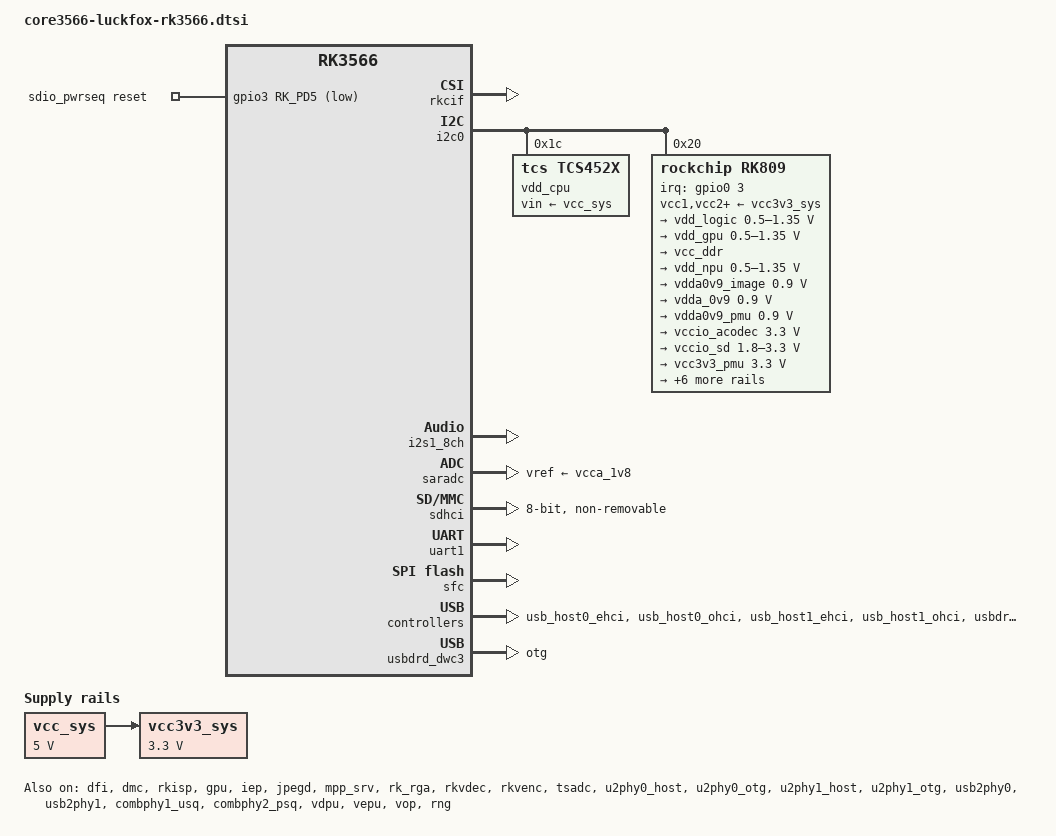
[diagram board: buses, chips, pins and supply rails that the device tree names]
// SPDX-License-Identifier: (GPL-2.0+ OR MIT)
/*
 * Copyright (c) 2023 luckfox technology Limited.

 */

/dts-v1/;

#include <dt-bindings/gpio/gpio.h>
#include <dt-bindings/pwm/pwm.h>
#include <dt-bindings/pinctrl/rockchip.h>
#include <dt-bindings/input/rk-input.h>
#include <dt-bindings/display/drm_mipi_dsi.h>
#include <dt-bindings/sensor-dev.h>
#include "core3566-rk3566.dtsi"

/ {
	compatible = "luckfox,core3566", "rockchip,rk3566";

	aliases {
		mmc0 = &sdhci;
		mmc1 = &sdmmc0;
		mmc2 = &sdmmc1;
		mmc3 = &sdmmc2;
	};

	chosen: chosen {
		bootargs = "earlycon=uart8250,mmio32,0xfe660000 console=tty1  console=ttyFIQ0 root=PARTUUID=614e0000-0000 rw rootwait";
	};

	fiq_debugger: fiq-debugger {
		compatible = "rockchip,fiq-debugger";
		rockchip,serial-id = <2>;
//		rockchip,serial-id = <7>;
		rockchip,wake-irq = <0>;
		/* If enable uart uses irq instead of fiq */
		rockchip,irq-mode-enable = <1>;
		rockchip,baudrate = <1500000>;  /* Only 115200 and 1500000 */
		interrupts = <GIC_SPI 252 IRQ_TYPE_LEVEL_LOW>;
		pinctrl-names = "default";
		pinctrl-0 = <&uart2m0_xfer>;
//		pinctrl-0 = <&uart7m0_xfer>;
		status = "okay";
	};

	debug: debug@fd904000 {
		compatible = "rockchip,debug";
		reg = <0x0 0xfd904000 0x0 0x1000>,
			<0x0 0xfd905000 0x0 0x1000>,
			<0x0 0xfd906000 0x0 0x1000>,
			<0x0 0xfd907000 0x0 0x1000>;
	};

	cspmu: cspmu@fd90c000 {
		compatible = "rockchip,cspmu";
		reg = <0x0 0xfd90c000 0x0 0x1000>,
			<0x0 0xfd90d000 0x0 0x1000>,
			<0x0 0xfd90e000 0x0 0x1000>,
			<0x0 0xfd90f000 0x0 0x1000>;
	};

	reserved_memory: reserved-memory {
		#address-cells = <2>;
		#size-cells = <2>;
		ranges;

		rknpu_reserved: rknpu {
			compatible = "shared-dma-pool";
			inactive;
			reusable;
			size = <0x0 0x1000000>; /* 100000 1M   0x20000000  512M    A00000 10m   at least 16m */
			alignment = <0x0 0x1000>;
		};
	};

	rk809_sound: rk809-sound {
		status = "okay";
		compatible = "simple-audio-card";
		simple-audio-card,format = "i2s";
		simple-audio-card,name = "rockchip,rk809-codec";
		simple-audio-card,mclk-fs = <256>;

		simple-audio-card,widgets =
			"Microphone", "Mic Jack",
			"Headphone", "Headphone Jack";
		simple-audio-card,routing =
			"MIC_IN", "Mic Jack",
			/*"IN1P", "Mic Jack",*/
			"Headphone Jack", "HPOL",
			"Headphone Jack", "HPOR";

		simple-audio-card,cpu {
			sound-dai = <&i2s1_8ch>;
		};
		simple-audio-card,codec {
			sound-dai = <&rk809_codec>;
		};
	};

	vcc_sys: vcc-sys {
		compatible = "regulator-fixed";
		regulator-name = "vcc_sys";
		regulator-always-on;
		regulator-boot-on;
		regulator-min-microvolt = <5000000>;
		regulator-max-microvolt = <5000000>;
	};

	vcc3v3_sys: vcc3v3-sys {
		compatible = "regulator-fixed";
		regulator-name = "vcc3v3_sys";
		regulator-always-on;
		regulator-boot-on;
		regulator-min-microvolt = <3300000>;
		regulator-max-microvolt = <3300000>;
		vin-supply = <&vcc_sys>;
	};

//无线
	sdio_pwrseq: sdio-pwrseq {
        compatible = "mmc-pwrseq-simple";
        clocks = <&rk809 1>;
        clock-names = "ext_clock";
        pinctrl-names = "default";
        pinctrl-0 = <&wifi_enable_h>;
        post-power-on-delay-ms = <200>;
        reset-gpios = <&gpio3 RK_PD5 GPIO_ACTIVE_LOW>;
    };

    wireless_wlan: wireless-wlan {
        compatible = "wlan-platdata";
        rockchip,grf = <&grf>;
        //wifi_chip_type = "ap6398s";
        wifi_chip_type = "ap6256";
        
        status = "okay";
    };

    wireless_bluetooth: wireless-bluetooth {
        compatible = "bluetooth-platdata";
        clocks = <&rk809 1>;
        clock-names = "ext_clock";
        //wifi-bt-power-toggle;
        //uart_rts_gpios = <&gpio2 RK_PB1 GPIO_ACTIVE_LOW>;
        pinctrl-names = "default", "rts_gpio";
        pinctrl-0 = <&uart8m0_rtsn>;
        pinctrl-1 = <&uart8_gpios>;
        //BT,reset_gpio    = <&gpio3 RK_PA0 GPIO_ACTIVE_HIGH>;
        //BT,wake_gpio     = <&gpio3 RK_PA1 GPIO_ACTIVE_HIGH>;
        //BT,wake_host_irq = <&gpio3 RK_PA2 GPIO_ACTIVE_HIGH>;
        status = "okay";
    };


};

&cpu0 {
	cpu-supply = <&vdd_cpu>;
};

&dfi {
	status = "okay";
};

&dmc {
	center-supply = <&vdd_logic>;
//ddr频率设置
	//status = "disabled";
	status = "okay";
};

&rkcif {
	status = "okay";
};

&rkcif_mmu {
	status = "okay";
};

&rkisp {
	status = "okay";
};

&rkisp_mmu {
	status = "okay";
};

&gpu {
	mali-supply = <&vdd_gpu>;
	status = "okay";
};

// &pmu_io_domains {
// 	status = "okay";
// 	pmuio1-supply = <&vcc3v3_pmu>;
// 	pmuio2-supply = <&VCC_GPIO18_45_3V3>;
// 	vccio1-supply = <&vccio_acodec>;
// 	vccio2-supply = <&vcca1v8_pmu>;
// 	vccio3-supply = <&vccio_sd>;
// 	vccio4-supply = <&VCC_GPIO0_17>;
// 	vccio5-supply = <&VCC_GPIO18_45_3V3>;
// 	vccio6-supply = <&VCC_GPIO0_17>;
// 	vccio7-supply = <&vcc_3v3>;
// };

&pmu_io_domains {
	status = "okay";
	pmuio2-supply = <&vcc3v3_pmu>;
	vccio1-supply = <&vccio_acodec>;
	vccio3-supply = <&vccio_sd>;
	vccio4-supply = <&vcc_1v8>;
	vccio5-supply = <&vcc_3v3>;
	vccio6-supply = <&vcc_1v8>;
	vccio7-supply = <&vcc_3v3>;
};

&i2c0 {
	status = "okay";

	vdd_cpu: tcs4525@1c {
		compatible = "tcs,tcs452x";
		reg = <0x1c>;
		vin-supply = <&vcc_sys>;
		regulator-compatible = "fan53555-reg";
		regulator-name = "vdd_cpu";
		regulator-min-microvolt = <712500>;
		regulator-max-microvolt = <1390000>;
		regulator-ramp-delay = <2300>;
		fcs,suspend-voltage-selector = <1>;
		regulator-boot-on;
		regulator-always-on;
		regulator-state-mem {
			regulator-off-in-suspend;
		};
	};

	rk809: pmic@20 {
		compatible = "rockchip,rk809";
		reg = <0x20>;
		interrupt-parent = <&gpio0>;
		interrupts = <3 IRQ_TYPE_LEVEL_LOW>;

		pinctrl-names = "default", "pmic-sleep",
				"pmic-power-off", "pmic-reset";
		pinctrl-0 = <&pmic_int>;
		pinctrl-1 = <&soc_slppin_slp>, <&rk817_slppin_slp>;
		pinctrl-2 = <&soc_slppin_gpio>, <&rk817_slppin_pwrdn>;
		pinctrl-3 = <&soc_slppin_gpio>, <&rk817_slppin_rst>;

		rockchip,system-power-controller;
		wakeup-source;
		#clock-cells = <1>;
		clock-output-names = "rk808-clkout1", "rk808-clkout2";
		//fb-inner-reg-idxs = <2>;
		/* 1: rst regs (default in codes), 0: rst the pmic */
		pmic-reset-func = <1>;

		// vcc1-supply = <&vcc_sys>;
		// vcc2-supply = <&vcc_sys>;
		// vcc3-supply = <&vcc_sys>;
		// vcc4-supply = <&vcc_sys>;
		// vcc5-supply = <&vcc_sys>;
		// vcc6-supply = <&vcc_sys>;
		// vcc7-supply = <&vcc_sys>;
		// vcc8-supply = <&vcc3v3_sys>;
		// vcc9-supply = <&vcc_sys>;

		vcc1-supply = <&vcc3v3_sys>;
		vcc2-supply = <&vcc3v3_sys>;
		vcc3-supply = <&vcc3v3_sys>;
		vcc4-supply = <&vcc3v3_sys>;
		vcc5-supply = <&vcc3v3_sys>;
		vcc6-supply = <&vcc3v3_sys>;
		vcc7-supply = <&vcc3v3_sys>;
		vcc8-supply = <&vcc3v3_sys>;
		vcc9-supply = <&vcc3v3_sys>;

		pwrkey {
			status = "okay";
		};

		pinctrl_rk8xx: pinctrl_rk8xx {
			gpio-controller;
			#gpio-cells = <2>;

			rk817_slppin_null: rk817_slppin_null {
				pins = "gpio_slp";
				function = "pin_fun0";
			};

			rk817_slppin_slp: rk817_slppin_slp {
				pins = "gpio_slp";
				function = "pin_fun1";
			};

			rk817_slppin_pwrdn: rk817_slppin_pwrdn {
				pins = "gpio_slp";
				function = "pin_fun2";
			};

			rk817_slppin_rst: rk817_slppin_rst {
				pins = "gpio_slp";
				function = "pin_fun3";
			};
		};

		regulators {
			vdd_logic: DCDC_REG1 {
				regulator-always-on;
				regulator-boot-on;
				regulator-min-microvolt = <500000>;
				regulator-max-microvolt = <1350000>;
				regulator-init-microvolt = <900000>;
				regulator-ramp-delay = <6001>;
				regulator-initial-mode = <0x2>;
				regulator-name = "vdd_logic";
				regulator-state-mem {
					regulator-off-in-suspend;
				};
			};

			vdd_gpu: DCDC_REG2 {
				regulator-always-on;
				regulator-boot-on;
				regulator-min-microvolt = <500000>;
				regulator-max-microvolt = <1350000>;
				regulator-init-microvolt = <900000>;
				regulator-ramp-delay = <6001>;
				regulator-initial-mode = <0x2>;
				regulator-name = "vdd_gpu";
				regulator-state-mem {
					regulator-off-in-suspend;
				};
			};

			vcc_ddr: DCDC_REG3 {
				regulator-always-on;
				regulator-boot-on;
				regulator-initial-mode = <0x2>;
				regulator-name = "vcc_ddr";
				regulator-state-mem {
					regulator-on-in-suspend;
				};
			};

			vdd_npu: DCDC_REG4 {
				regulator-always-on;
				regulator-boot-on;
				regulator-min-microvolt = <500000>;
				regulator-max-microvolt = <1350000>;
				regulator-init-microvolt = <900000>;
				regulator-ramp-delay = <6001>;
				regulator-initial-mode = <0x2>;
				regulator-name = "vdd_npu";
				regulator-state-mem {
					regulator-off-in-suspend;
				};
			};

			vdda0v9_image: LDO_REG1 {
				regulator-boot-on;
				regulator-always-on;
				regulator-min-microvolt = <900000>;
				regulator-max-microvolt = <900000>;
				regulator-name = "vdda0v9_image";
				regulator-state-mem {
					regulator-off-in-suspend;
				};
			};

			vdda_0v9: LDO_REG2 {
				regulator-always-on;
				regulator-boot-on;
				regulator-min-microvolt = <900000>;
				regulator-max-microvolt = <900000>;
				regulator-name = "vdda_0v9";
				regulator-state-mem {
					regulator-off-in-suspend;
				};
			};

			vdda0v9_pmu: LDO_REG3 {
				regulator-always-on;
				regulator-boot-on;
				regulator-min-microvolt = <900000>;
				regulator-max-microvolt = <900000>;
				regulator-name = "vdda0v9_pmu";
				regulator-state-mem {
					regulator-on-in-suspend;
					regulator-suspend-microvolt = <900000>;
				};
			};

			vccio_acodec: LDO_REG4 {
				regulator-always-on;
				regulator-boot-on;
				regulator-min-microvolt = <3300000>;
				regulator-max-microvolt = <3300000>;
				regulator-name = "vccio_acodec";
				regulator-state-mem {
					regulator-off-in-suspend;
				};
			};

			vccio_sd: LDO_REG5 {
				regulator-always-on;
				regulator-boot-on;
				regulator-min-microvolt = <1800000>;
				regulator-max-microvolt = <3300000>;
				regulator-name = "vccio_sd";
				regulator-state-mem {
					regulator-off-in-suspend;
				};
			};

			vcc3v3_pmu: LDO_REG6 {
				regulator-always-on;
				regulator-boot-on;
				regulator-min-microvolt = <3300000>;
				regulator-max-microvolt = <3300000>;
				regulator-name = "vcc3v3_pmu";
				regulator-state-mem {
					regulator-on-in-suspend;
					regulator-suspend-microvolt = <3300000>;
				};
			};

			vcca_1v8: LDO_REG7 {
				regulator-always-on;
				regulator-boot-on;
				regulator-min-microvolt = <1800000>;
				regulator-max-microvolt = <1800000>;
				regulator-name = "vcca_1v8";
				regulator-state-mem {
					regulator-off-in-suspend;
				};
			};

			vcca1v8_pmu: LDO_REG8 {
				regulator-always-on;
				regulator-boot-on;
				regulator-min-microvolt = <1800000>;
				regulator-max-microvolt = <1800000>;
				regulator-name = "vcca1v8_pmu";
				regulator-state-mem {
					regulator-on-in-suspend;
					regulator-suspend-microvolt = <1800000>;
				};
			};

			VCC_GPIO0_17: LDO_REG9 {
				regulator-always-on;
				regulator-boot-on;
				regulator-min-microvolt = <3300000>;
				regulator-max-microvolt = <3300000>;
				regulator-name = "VCC_GPIO0_17";
				regulator-state-mem {
					regulator-off-in-suspend;
				};
			};

			vcc_1v8: DCDC_REG5 {
				regulator-always-on;
				regulator-boot-on;
				regulator-min-microvolt = <1800000>;
				regulator-max-microvolt = <1800000>;
				regulator-name = "vcc_1v8";
				regulator-state-mem {
					regulator-off-in-suspend;
				};
			};

			vcc_3v3: SWITCH_REG1 {
				regulator-always-on;
				regulator-boot-on;
				regulator-name = "vcc_3v3";
				regulator-state-mem {
					regulator-off-in-suspend;
				};
			};

			vcc3v3_sd: SWITCH_REG2 {
				regulator-always-on;
				regulator-boot-on;
				regulator-name = "vcc3v3_sd";
				regulator-state-mem {
					regulator-off-in-suspend;
				};
			};
		};

		rk809_codec: codec {
			#sound-dai-cells = <0>;
			compatible = "rockchip,rk809-codec", "rockchip,rk817-codec";
			clocks = <&cru I2S1_MCLKOUT_TX>;
			clock-names = "mclk";
			assigned-clocks = <&cru I2S1_MCLKOUT_TX>;
			assigned-clock-parents = <&cru CLK_I2S1_8CH_TX>;
			pinctrl-names = "default";
			pinctrl-0 = <&i2s1m0_mclk>;

			avrman-spk-con-gpio = <&gpio0 RK_PA6 GPIO_ACTIVE_LOW>;
			avrman-hp-det-gpio =  <&gpio4 RK_PC6 GPIO_ACTIVE_LOW>;

			hp-volume = <20>;
			spk-volume = <3>;
			status = "okay";
		};
	};
};

&i2s1_8ch {
	status = "okay";
	rockchip,clk-trcm = <1>;
	pinctrl-names = "default";
	pinctrl-0 = <&i2s1m0_sclktx
		     &i2s1m0_lrcktx
		     &i2s1m0_sdi0
		     &i2s1m0_sdo0>;
};

&iep {
	status = "okay";
};

&iep_mmu {
	status = "okay";
};

&jpegd {
	status = "okay";
};

&jpegd_mmu {
	status = "okay";
};

&mpp_srv {
	status = "okay";
};

&rk_rga {
	status = "okay";
};

&rkvdec {
	status = "okay";
};

&rkvdec_mmu {
	status = "okay";
};

&rkvenc {
	status = "okay";
};

&rkvenc_mmu {
	status = "okay";
};

&bus_npu {
	bus-supply = <&vdd_logic>;
	pvtm-supply = <&vdd_cpu>;
	status = "disabled";
};

&rknpu {
	memory-region = <&rknpu_reserved>;
	rknpu-supply = <&vdd_gpu>;
	status = "disabled";
};

&rknpu_mmu {
	status = "disabled";
};

&saradc {
	status = "okay";
	vref-supply = <&vcca_1v8>;
};

&sdhci {
	bus-width = <8>;
	supports-emmc;
	non-removable;
	rockchip,txclk-tapnum = <0x8>;
	max-frequency = <200000000>;
	status = "okay";
};

&uart1 {
	status = "okay";
	pinctrl-names = "default";
	pinctrl-0 = <&uart1m0_xfer &uart1m0_ctsn>;
};


&sfc {
	status = "okay";
};

&tsadc {
	status = "okay";
};

///////////


&u2phy0_host {
	status = "okay";
};

&u2phy0_otg {
	status = "okay";
};

&u2phy1_host {
	status = "okay";
};

&u2phy1_otg {
	status = "okay";
};

&usb2phy0 {
	status = "okay";
};

&usb2phy1 {
	status = "okay";
};

&usb_host0_ehci {
	status = "okay";
};

&usb_host0_ohci {
	status = "okay";
};

&usb_host1_ehci {
	status = "okay";
};

&usb_host1_ohci {
	status = "okay";
};

&usbdrd_dwc3 {
	dr_mode = "otg";
	extcon = <&usb2phy0>;
	status = "okay";
};

&usbdrd30 {
	status = "okay";
};

&usbhost_dwc3 {
	status = "disabled";
};

&usbhost30 {
	status = "disabled";
};

&combphy1_usq {
	status = "okay";
};

&combphy2_psq {
	status = "okay";
};

&pcie2x1 {
	status = "disabled";
};

&vdpu {
	status = "okay";
};

&vdpu_mmu {
	status = "okay";
};

&vepu {
	status = "okay";
};

&vepu_mmu {
	status = "okay";
};

&vop {
	status = "okay";
	assigned-clocks = <&cru DCLK_VOP0>, <&cru DCLK_VOP1>;
	assigned-clock-parents = <&pmucru PLL_HPLL>, <&cru PLL_VPLL>;
};

&vop_mmu {
	status = "okay";
};

&reserved_memory {
	ramoops: ramoops@110000 {
		compatible = "ramoops";
		reg = <0x0 0x110000 0x0 0xf0000>;
		record-size = <0x20000>;
		console-size = <0x80000>;
		ftrace-size = <0x00000>;
		pmsg-size = <0x50000>;
	};
};

&rng {
	status = "okay";
};

&rockchip_suspend {
	status = "okay";
};

&pinctrl {

	pmic {
		pmic_int: pmic_int {
			rockchip,pins =
				<0 RK_PA3 RK_FUNC_GPIO &pcfg_pull_up>;
		};

		soc_slppin_gpio: soc_slppin_gpio {
			rockchip,pins =
				<0 RK_PA2 RK_FUNC_GPIO &pcfg_output_low_pull_down>;
		};

		soc_slppin_slp: soc_slppin_slp {
			rockchip,pins =
				<0 RK_PA2 1 &pcfg_pull_up>;
		};

		soc_slppin_rst: soc_slppin_rst {
			rockchip,pins =
				<0 RK_PA2 2 &pcfg_pull_none>;
		};
	};

};
